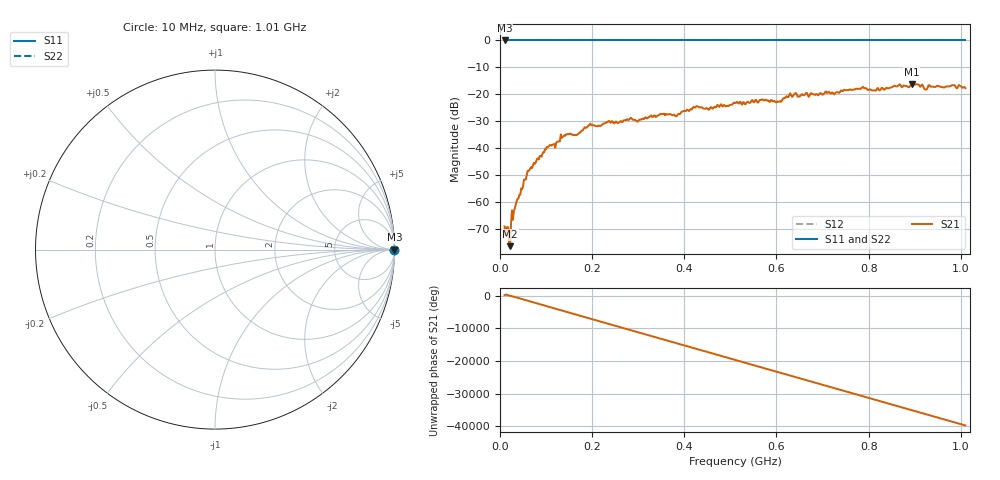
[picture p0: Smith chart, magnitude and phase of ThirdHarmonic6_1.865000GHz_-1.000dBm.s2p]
! 8/16/2025 10:33:08 PM
! C:\ANRITSUVNA\TEMP\TEMP.S2P
! CHANNEL.1
! TR.MEASUREMENT
! RAW.DATA
! RF.CORRECTION.OFF
! AVERAGING.OFF
! IF.BANDWIDTH: 5KHZ
! SWEEPTYPE:  FREQ.SWEEP(Linear)
! Reference Plane Port Info
! PORT:  PORT1  PORT2
! DISTANCE:  0  m  0  m
! TIME:  0  s  0  s
! PHASE.OFFSET:  0  deg.  0  deg.
! LOSS:  0  dB  0  dB
! REF.LOSS:  0  dB  0  dB
! REF.FREQ:  0  Hz  0  Hz
! Power Info
! POWER:  -20  dBm  -20  dBm
! EFF.POWER:  -20  dBm  -20  dBm
! SOURCE.ATTEN:  0  dB  0  dB
! TEST.ATTEN:  0  dB  0  dB
# GHZ S RI R 50.0
! FREQ.GHZ  S11RE  S11IM  S21RE  S21IM  S12RE  S12IM  S22RE  S22IM
!; PortSelection: Port_12
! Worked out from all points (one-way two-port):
!   501 points, 10 MHz to 1.01 GHz, reference 50 ohm
!   highest |S21| = -16.11 dB at 894 MHz (marker M1); lowest = -76.4 dB at 22 MHz (marker M2)
!   lowest |S11| = 0.0 dB at 10 MHz (marker M3)
!   |S11| at or under -10 dB: nowhere
!   |S22| runs from 0.0 to 0.0 dB; largest |S21 - S12| = 1.2
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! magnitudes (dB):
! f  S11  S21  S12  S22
! 10 MHz  0.0  -69.1  0.0  0.0
! 18 MHz  0.0  -69.5  0.0  0.0
! 22 MHz  0.0  -76.4  0.0  0.0
! 24 MHz  0.0  -67.7  0.0  0.0
! 28 MHz  0.0  -66.6  0.0  0.0
! 34 MHz  0.0  -61.1  0.0  0.0
! 64 MHz  0.0  -48.2  0.0  0.0
! 106 MHz  0.0  -39.3  0.0  0.0
! 136 MHz  0.0  -35.8  0.0  0.0
! 178 MHz  0.0  -33.5  0.0  0.0
! 196 MHz  0.0  -30.9  0.0  0.0
! 344 MHz  0.0  -27.8  0.0  0.0
! 382 MHz  0.0  -28.2  0.0  0.0
! 424 MHz  0.0  -24.9  0.0  0.0
! 510 MHz  0.0  -23.2  0.0  0.0
! 602 MHz  0.0  -22.6  0.0  0.0
! 626 MHz  0.0  -21.0  0.0  0.0
! 678 MHz  0.0  -19.9  0.0  0.0
! 844 MHz  0.0  -17.8  0.0  0.0
! 894 MHz  0.0  -16.1  0.0  0.0
! 924 MHz  0.0  -18.3  0.0  0.0
! 1.01 GHz  0.0  -17.7  0.0  0.0
